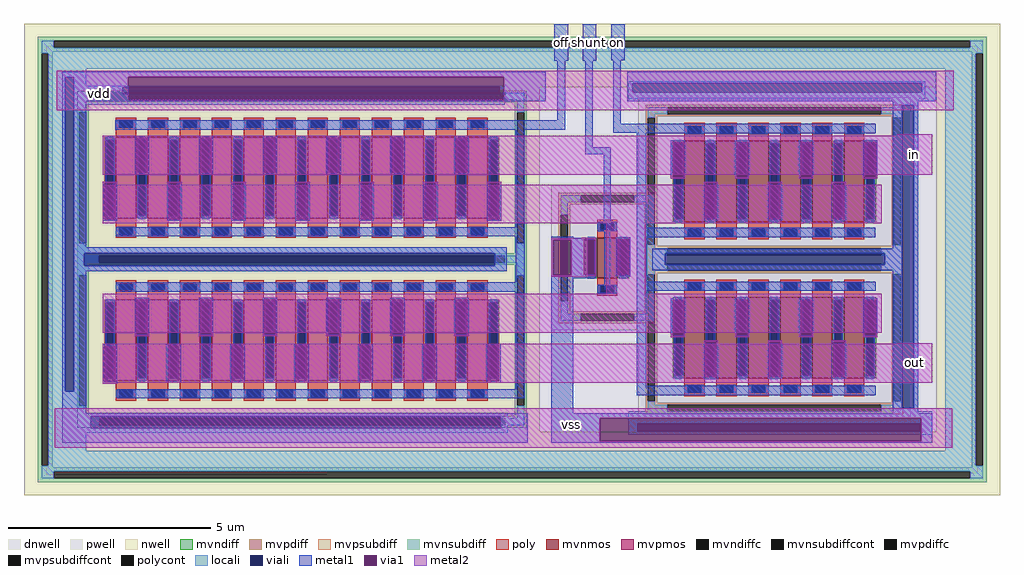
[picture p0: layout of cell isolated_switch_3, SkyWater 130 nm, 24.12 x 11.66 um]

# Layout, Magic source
magic
tech sky130A
magscale 1 2
<< dnwell >>
rect 683 -653 5288 1461
rect 683 -659 2069 -653
<< nwell >>
rect 573 1255 5397 1570
rect 573 -447 769 1255
rect 5082 -447 5397 1255
rect 573 -762 5397 -447
<< mvpsubdiff >>
rect 3698 395 4919 413
<< mvnsubdiff >>
rect 640 1484 5331 1504
rect 640 1450 720 1484
rect 5251 1450 5331 1484
rect 640 1430 5331 1450
rect 640 1424 714 1430
rect 640 -616 660 1424
rect 694 -616 714 1424
rect 5257 1424 5331 1430
rect 640 -622 714 -616
rect 5257 -616 5277 1424
rect 5311 -616 5331 1424
rect 5257 -622 5331 -616
rect 640 -642 5331 -622
rect 640 -676 720 -642
rect 5251 -676 5331 -642
rect 640 -696 5331 -676
<< mvnsubdiffcont >>
rect 720 1450 5251 1484
rect 660 -616 694 1424
rect 5277 -616 5311 1424
rect 720 -676 5251 -642
<< locali >>
rect 660 1450 720 1484
rect 5251 1450 5311 1484
rect 660 1424 5311 1450
rect 694 1348 5277 1424
rect 694 1305 881 1348
rect 694 -246 777 1305
rect 820 1263 881 1305
rect 3560 1276 5028 1286
rect 820 1255 2950 1263
rect 820 1220 1062 1255
rect 2925 1220 2950 1255
rect 820 1169 2950 1220
rect 3560 1230 3582 1276
rect 5010 1230 5028 1276
rect 3560 1196 5028 1230
rect 820 465 881 1169
rect 4868 1166 4994 1196
rect 820 436 2960 465
rect 4868 458 4914 1166
rect 820 373 871 436
rect 2899 373 2960 436
rect 820 345 2960 373
rect 3679 436 4914 458
rect 3679 379 3742 436
rect 4827 379 4914 436
rect 3679 351 4914 379
rect 820 -246 881 345
rect 694 -353 881 -246
rect 4868 -331 4914 351
rect 4970 -331 4994 1166
rect 4868 -345 4994 -331
rect 694 -374 2963 -353
rect 694 -431 903 -374
rect 2929 -431 2963 -374
rect 694 -453 2963 -431
rect 3560 -407 5063 -345
rect 3560 -444 3603 -407
rect 5003 -444 5063 -407
rect 694 -542 881 -453
rect 3560 -462 5063 -444
rect 5126 -542 5277 1348
rect 694 -616 5277 -542
rect 660 -642 5311 -616
rect 660 -676 720 -642
rect 5251 -676 5311 -642
<< viali >>
rect 777 -246 820 1305
rect 1062 1220 2925 1255
rect 3582 1230 5010 1276
rect 871 373 2899 436
rect 3742 379 4827 436
rect 4914 -331 4970 1166
rect 903 -431 2929 -374
rect 3603 -444 5003 -407
<< metal1 >>
rect 3194 1386 3262 1567
rect 3334 1386 3402 1567
rect 3475 1390 3542 1566
rect 761 1332 881 1333
rect 761 1308 3152 1332
rect 761 1305 1088 1308
rect 761 -246 777 1305
rect 820 1255 1088 1305
rect 820 1220 1062 1255
rect 820 1194 1088 1220
rect 2943 1194 3152 1308
rect 820 1186 3152 1194
rect 820 465 881 1186
rect 3208 1092 3248 1386
rect 1023 1046 3248 1092
rect 3003 564 3049 1046
rect 3348 960 3384 1386
rect 3486 1075 3522 1390
rect 3554 1276 5081 1332
rect 3554 1230 3582 1276
rect 5010 1230 5081 1276
rect 3554 1186 5081 1230
rect 4868 1166 4994 1186
rect 3486 1030 4784 1075
rect 3602 1029 4784 1030
rect 3602 1000 3649 1029
rect 3348 924 3474 960
rect 3438 574 3474 924
rect 1027 518 3049 564
rect 820 436 2960 465
rect 820 373 871 436
rect 2899 373 2960 436
rect 820 345 2960 373
rect 820 -246 881 345
rect 3003 291 3049 518
rect 1027 245 3049 291
rect 3003 -237 3049 245
rect 761 -356 881 -246
rect 1031 -265 3049 -237
rect 3179 512 3287 517
rect 3179 501 3362 512
rect 3179 327 3188 501
rect 3278 327 3362 501
rect 3179 312 3362 327
rect 1031 -283 3047 -265
rect 3179 -356 3287 312
rect 3442 256 3470 574
rect 3601 562 3649 1000
rect 3601 513 4780 562
rect 3601 295 3649 513
rect 4868 458 4914 1166
rect 3679 436 4914 458
rect 3679 379 3742 436
rect 4827 379 4914 436
rect 3679 351 4914 379
rect 3601 249 4784 295
rect 3601 -221 3649 249
rect 3601 -266 4784 -221
rect 3603 -267 4784 -266
rect 4868 -331 4914 351
rect 4970 -331 4994 1166
rect 4868 -356 4994 -331
rect 761 -374 3062 -356
rect 761 -431 903 -374
rect 2929 -431 3062 -374
rect 761 -502 3062 -431
rect 3179 -380 5063 -356
rect 3179 -495 3419 -380
rect 5008 -495 5063 -380
rect 3179 -502 5063 -495
<< via1 >>
rect 1088 1255 2943 1308
rect 1088 1220 2925 1255
rect 2925 1220 2943 1255
rect 1088 1194 2943 1220
rect 3188 327 3278 501
rect 3419 -407 5008 -380
rect 3419 -444 3603 -407
rect 3603 -444 5003 -407
rect 5003 -444 5008 -407
rect 3419 -495 5008 -444
<< metal2 >>
rect 735 1308 5169 1336
rect 735 1194 1088 1308
rect 2943 1194 5169 1308
rect 735 1141 5169 1194
rect 4886 1016 5062 1023
rect 961 824 5062 1016
rect 4886 823 5062 824
rect 961 582 4813 774
rect 3179 501 3360 509
rect 3179 327 3188 501
rect 3278 327 3360 501
rect 3179 319 3360 327
rect 3450 235 3647 582
rect 961 43 4813 235
rect 4886 -13 5062 -9
rect 961 -205 5062 -13
rect 726 -380 5160 -331
rect 726 -495 3419 -380
rect 5008 -495 5160 -380
rect 726 -526 5160 -495
use iso_switch_via  iso_switch_via_0
transform 1 0 3912 0 1 2728
box 652 -2914 724 -2722
use iso_switch_via  iso_switch_via_1
transform 1 0 625 0 1 2709
box 652 -2914 724 -2722
use iso_switch_via  iso_switch_via_2
transform 1 0 1100 0 1 2938
box 652 -2914 724 -2722
use iso_switch_via  iso_switch_via_3
transform 1 0 1257 0 1 2709
box 652 -2914 724 -2722
use iso_switch_via  iso_switch_via_4
transform 1 0 1573 0 1 2709
box 652 -2914 724 -2722
use iso_switch_via  iso_switch_via_5
transform 1 0 1889 0 1 2709
box 652 -2914 724 -2722
use iso_switch_via  iso_switch_via_6
transform 1 0 945 0 -1 -2126
box 652 -2914 724 -2722
use iso_switch_via  iso_switch_via_7
transform 1 0 2205 0 1 2709
box 652 -2914 724 -2722
use iso_switch_via  iso_switch_via_8
transform 1 0 468 0 1 2938
box 652 -2914 724 -2722
use iso_switch_via  iso_switch_via_9
transform 1 0 784 0 1 2938
box 652 -2914 724 -2722
use iso_switch_via  iso_switch_via_10
transform 1 0 2048 0 1 2938
box 652 -2914 724 -2722
use iso_switch_via  iso_switch_via_11
transform 1 0 1416 0 1 2938
box 652 -2914 724 -2722
use iso_switch_via  iso_switch_via_12
transform 1 0 1732 0 1 2938
box 652 -2914 724 -2722
use iso_switch_via  iso_switch_via_13
transform 1 0 629 0 -1 -2126
box 652 -2914 724 -2722
use iso_switch_via  iso_switch_via_14
transform 1 0 1100 0 -1 -1898
box 652 -2914 724 -2722
use iso_switch_via  iso_switch_via_15
transform 1 0 1261 0 -1 -2126
box 652 -2914 724 -2722
use iso_switch_via  iso_switch_via_16
transform 1 0 1577 0 -1 -2126
box 652 -2914 724 -2722
use iso_switch_via  iso_switch_via_17
transform 1 0 309 0 1 2705
box 652 -2914 724 -2722
use iso_switch_via  iso_switch_via_18
transform 1 0 1893 0 -1 -2126
box 652 -2914 724 -2722
use iso_switch_via  iso_switch_via_19
transform 1 0 2209 0 -1 -2126
box 652 -2914 724 -2722
use iso_switch_via  iso_switch_via_20
transform 1 0 941 0 1 2709
box 652 -2914 724 -2722
use iso_switch_via  iso_switch_via_21
transform 1 0 468 0 -1 -1898
box 652 -2914 724 -2722
use iso_switch_via  iso_switch_via_22
transform 1 0 784 0 -1 -1898
box 652 -2914 724 -2722
use iso_switch_via  iso_switch_via_23
transform 1 0 2048 0 -1 -1898
box 652 -2914 724 -2722
use iso_switch_via  iso_switch_via_24
transform 1 0 1416 0 -1 -1898
box 652 -2914 724 -2722
use iso_switch_via  iso_switch_via_25
transform 1 0 1732 0 -1 -1898
box 652 -2914 724 -2722
use iso_switch_via  iso_switch_via_26
transform 1 0 3280 0 1 2727
box 652 -2914 724 -2722
use iso_switch_via  iso_switch_via_27
transform -1 0 4494 0 1 2934
box 652 -2914 724 -2722
use iso_switch_via  iso_switch_via_28
transform 1 0 3596 0 1 2728
box 652 -2914 724 -2722
use iso_switch_via  iso_switch_via_29
transform -1 0 4810 0 1 2934
box 652 -2914 724 -2722
use iso_switch_via  iso_switch_via_30
transform -1 0 5126 0 1 2934
box 652 -2914 724 -2722
use iso_switch_via  iso_switch_via_31
transform -1 0 5442 0 1 3716
box 652 -2914 724 -2722
use iso_switch_via  iso_switch_via_32
transform 1 0 3912 0 1 3510
box 652 -2914 724 -2722
use iso_switch_via  iso_switch_via_33
transform -1 0 5126 0 1 3716
box 652 -2914 724 -2722
use iso_switch_via  iso_switch_via_34
transform -1 0 5442 0 1 2934
box 652 -2914 724 -2722
use iso_switch_via  iso_switch_via_35
transform 1 0 3596 0 1 3510
box 652 -2914 724 -2722
use iso_switch_via  iso_switch_via_36
transform -1 0 4054 0 1 3234
box 652 -2914 724 -2722
use iso_switch_via  iso_switch_via_37
transform -1 0 4222 0 1 3235
box 652 -2914 724 -2722
use iso_switch_via  iso_switch_via_38
transform 1 0 309 0 -1 -2126
box 652 -2914 724 -2722
use iso_switch_via  iso_switch_via_39
transform -1 0 4810 0 1 3716
box 652 -2914 724 -2722
use iso_switch_via  iso_switch_via_40
transform 1 0 3280 0 1 3510
box 652 -2914 724 -2722
use iso_switch_via  iso_switch_via_41
transform -1 0 4494 0 1 3716
box 652 -2914 724 -2722
use sky130_fd_pr__nfet_g5v0d10v5_EJGQJV  sky130_fd_pr__nfet_g5v0d10v5_EJGQJV_0 paramcells
transform -1 0 3456 0 1 412
box -278 -358 278 358
use sky130_fd_pr__nfet_g5v0d10v5_SABQJA  sky130_fd_pr__nfet_g5v0d10v5_SABQJA_0 paramcells
transform -1 0 4282 0 1 17
box -673 -414 673 414
use sky130_fd_pr__pfet_g5v0d10v5_LQS9ZD  sky130_fd_pr__pfet_g5v0d10v5_LQS9ZD_0 paramcells
transform 1 0 1946 0 1 4
box -1177 -497 1177 497
use sky130_fd_pr__pfet_g5v0d10v5_LQS9ZD  XM4
transform 1 0 1946 0 1 808
box -1177 -497 1177 497
use sky130_fd_pr__nfet_g5v0d10v5_SABQJA  XM15
transform -1 0 4282 0 1 791
box -673 -414 673 414
<< labels >>
flabel metal2 4886 -205 5062 -9 0 FreeSans 256 180 0 0 out
port 3 nsew
flabel metal2 4886 823 5062 1023 0 FreeSans 256 0 0 0 in
port 4 nsew
flabel metal1 3334 1386 3402 1567 0 FreeSans 256 270 0 0 shunt
port 6 nsew
flabel metal1 845 1186 1045 1264 0 FreeSans 256 0 0 0 vdd
port 5 nsew
flabel metal1 3475 1390 3542 1566 0 FreeSans 256 270 0 0 on
port 0 nsew
flabel metal1 3194 1386 3262 1567 0 FreeSans 256 270 0 0 off
port 1 nsew
flabel metal1 3180 -463 3380 -356 0 FreeSans 256 180 0 0 vss
port 2 nsew
<< end >>

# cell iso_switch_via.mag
magic
tech sky130A
<< metal1 >>
rect 326 -1365 362 -1361
rect 326 -1453 330 -1365
rect 357 -1453 362 -1365
rect 326 -1457 362 -1453
<< via1 >>
rect 330 -1453 357 -1365
<< metal2 >>
rect 326 -1365 362 -1361
rect 326 -1453 330 -1365
rect 357 -1453 362 -1365
rect 326 -1457 362 -1453
<< end >>

# cell sky130_fd_pr__nfet_g5v0d10v5_EJGQJV: kit device sky130_fd_pr__nfet_g5v0d10v5, w 1.0 l 0.5 m 1 nf 1 diffcov 100 polycov 100 guard 1 glc 0 grc 1 gtc 1 gbc 1 tbcov 100 rlcov 100 topc 1 botc 1 poverlap 0 doverlap 1 lmin 0.50 wmin 0.42 compatible {sky130_fd_pr__nfet_01v8 sky130_fd_pr__nfet_01v8_lvt sky130_fd_bs_flash__special_sonosfet_star sky130_fd_pr__nfet_g5v0d10v5 sky130_fd_pr__nfet_05v0_nvt sky130_fd_pr__nfet_03v3_nvt} full_metal 1 viasrc 100 viadrn 100 viagate 100 viagb 0 viagr 0 viagl 0 viagt 0

# cell sky130_fd_pr__nfet_g5v0d10v5_SABQJA: kit device sky130_fd_pr__nfet_g5v0d10v5, w 2.0 l 0.5 m 1 nf 6 diffcov 100 polycov 100 guard 1 glc 1 grc 1 gtc 1 gbc 1 tbcov 100 rlcov 100 topc 1 botc 1 poverlap 0 doverlap 1 lmin 0.50 wmin 0.42 compatible {sky130_fd_pr__nfet_01v8 sky130_fd_pr__nfet_01v8_lvt sky130_fd_bs_flash__special_sonosfet_star sky130_fd_pr__nfet_g5v0d10v5 sky130_fd_pr__nfet_05v0_nvt sky130_fd_pr__nfet_03v3_nvt} full_metal 1 viasrc 100 viadrn 100 viagate 100 viagb 0 viagr 0 viagl 0 viagt 0

# cell sky130_fd_pr__pfet_g5v0d10v5_LQS9ZD: kit device sky130_fd_pr__pfet_g5v0d10v5, w 2.0 l 0.5 m 1 nf 12 diffcov 100 polycov 100 guard 1 glc 1 grc 1 gtc 1 gbc 1 tbcov 100 rlcov 100 topc 1 botc 1 poverlap 0 doverlap 1 lmin 0.50 wmin 0.42 compatible {sky130_fd_pr__pfet_01v8 sky130_fd_pr__pfet_01v8_lvt sky130_fd_pr__pfet_01v8_hvt sky130_fd_pr__pfet_g5v0d10v5} full_metal 1 viasrc 100 viadrn 100 viagate 100 viagb 0 viagr 0 viagl 0 viagt 0
